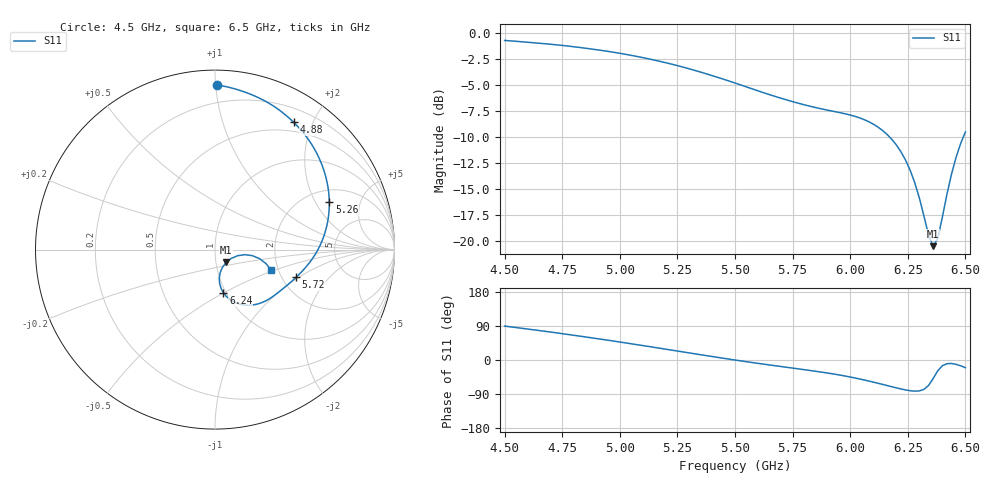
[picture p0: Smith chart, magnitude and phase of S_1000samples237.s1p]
! TOUCHSTONE file generated by CST MICROWAVE STUDIO
! Date and time: Thu Oct 27 11:41:38 2022
! Project name: L.cst
! Parameters = {Di=1.27; Epsilon_r=1.56; InnerDiameter=1.27; Length=2; Lf=10; Lg=60; OuterConductorThickness=0.2921; OuterDiameter=3.6; Wf=3; Wp=41.2; de=1.5; df=6.8; g=0.8; gx=1.32437; gy=4.05815; h=2.34; hf=1.524; px=10.9879; py=13.7513; w=9.7; wx=9.66353; wy=9.6931}
! Header version: 2018
! Port assignment regex: !\s*Touchstone port\s*([0-9]+)\s*=\s*(CST MWS port|CST DS port)\s*([0-9]+|Zmin|Zmax)\s*\(\"(.*)\"\)(\s*mode\s*([0-9]+))?.*
! Touchstone port assignment:
! Touchstone port 1 = CST MWS port 1 ("")
# GHz S DB R 50
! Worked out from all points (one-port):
!   101 points, 4.5 GHz to 6.5 GHz, reference 50 ohm
!   lowest |S11| = -20.5 dB at 6.36 GHz (marker M1), VSWR 1.21, Z = 56 - j8.07 ohm
!   |S11| at or under -10 dB: 6.171 GHz to 6.491 GHz (320.6 MHz wide, 5.06 % of centre)
!   S11 on the Smith chart (normalised r, x): 4.5 GHz: 0.09, +1.01; 4.88 GHz: 0.37, +1.73; 5.26 GHz: 2.58, +2.63; 5.72 GHz: 2.38, -0.95; 6.24 GHz: 0.97, -0.50; 6.5 GHz: 1.83, -0.48
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4.5  -0.75 89.4
4.64  -1.00 78.5
4.76  -1.25 68.7
4.88  -1.58 58.3
5  -1.98 47.4
5.14  -2.58 34.3
5.26  -3.22 22.7
5.38  -3.98 11.2
5.5  -4.83 -0.0
5.6  -5.58 -8.9
5.72  -6.42 -18.9
5.76  -6.68 -22.2
6  -7.90 -44.9
6.08  -8.54 -55.5
6.14  -9.37 -64.3
6.2  -10.76 -73.5
6.24  -12.21 -79.0
6.26  -13.18 -81.1
6.28  -14.38 -82.2
6.3  -15.84 -81.5
6.32  -17.58 -77.5
6.34  -19.40 -67.3
6.36  -20.48 -49.0
6.38  -19.74 -28.4
6.42  -15.49 -9.7
6.44  -13.54 -9.2
6.46  -11.92 -11.5
6.5  -9.53 -20.2
